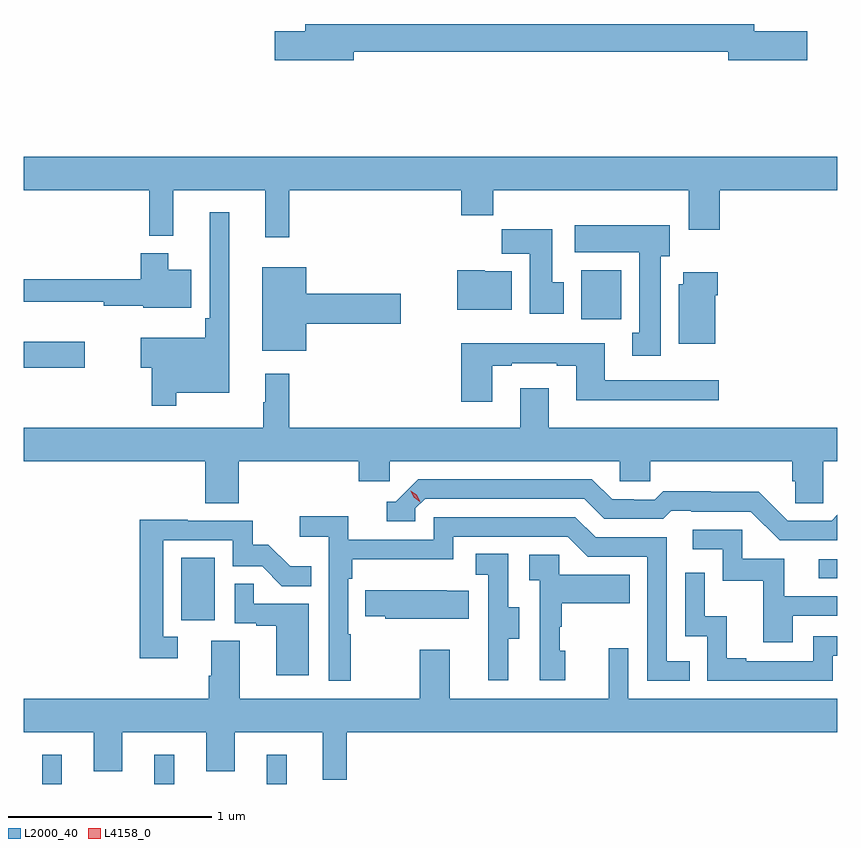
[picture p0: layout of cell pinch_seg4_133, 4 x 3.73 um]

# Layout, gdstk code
import gdstk
lib = gdstk.Library(unit=1e-6, precision=1e-09)
def R(c, l, rs):  # rectangles x0, y0, x1, y1
    for r in rs: c.add(gdstk.rectangle(r[:2], r[2:], *l))
def P(c, l, *ps):  # polygons
    for p in ps: c.add(gdstk.Polygon(p, *l))
L2000_40 = (2000, 40)
L4158_0 = (4158, 0)

pinch_seg4_133 = lib.new_cell('pinch_seg4_133')
R(pinch_seg4_133, L2000_40, [(1018.67,800.561,1018.768,800.704), (1019.222,800.561,1019.32,800.704), (1019.774,800.561,1019.873,800.704), (1019.354,801.366,1019.518,801.673), (1022.487,801.573,1022.579,801.666), (1018.579,802.606,1018.879,802.735), (1021.319,802.844,1021.516,803.086)])
P(pinch_seg4_133, L2000_40, [(1020.202,804.16),(1022.042,804.16),(1022.042,804.118),(1022.431,804.118),(1022.431,804.26),(1022.17,804.26),(1022.17,804.296),(1019.963,804.296),(1019.963,804.26),(1019.814,804.26),(1019.814,804.118),(1020.202,804.118)],
  [(1019.885,803.48),(1020.731,803.48),(1020.731,803.356),(1020.887,803.356),(1020.887,803.48),(1021.847,803.48),(1021.847,803.286),(1022,803.286),(1022,803.48),(1022.579,803.48),(1022.579,803.644),(1018.579,803.644),(1018.579,803.48),(1019.197,803.48),(1019.197,803.255),(1019.315,803.255),(1019.315,803.48),(1019.768,803.48),(1019.768,803.247),(1019.885,803.247)],
  [(1019.329,802.484),(1019.59,802.484),(1019.59,803.371),(1019.493,803.371),(1019.493,802.849),(1019.473,802.849),(1019.473,802.753),(1019.156,802.753),(1019.156,802.606),(1019.208,802.606),(1019.208,802.419),(1019.329,802.419)],
  [(1021.711,803.154),(1021.756,803.154),(1021.756,803.308),(1021.287,803.308),(1021.287,803.174),(1021.604,803.174),(1021.604,802.778),(1021.571,802.778),(1021.571,802.665),(1021.711,802.665)],
  [(1021.234,803.028),(1021.177,803.028),(1021.177,803.287),(1020.928,803.287),(1020.928,803.168),(1021.067,803.168),(1021.067,802.872),(1021.234,802.872)],
  [(1019.404,803.089),(1019.29,803.089),(1019.29,803.17),(1019.156,803.17),(1019.156,803.041),(1018.579,803.041),(1018.579,802.931),(1018.972,802.931),(1018.972,802.912),(1019.168,802.912),(1019.168,802.901),(1019.404,802.901)],
  [(1019.968,802.823),(1020.433,802.823),(1020.433,802.97),(1019.968,802.97),(1019.968,803.101),(1019.753,803.101),(1019.753,802.691),(1019.968,802.691)],
  [(1020.979,803.08),(1020.846,803.08),(1020.846,803.086),(1020.71,803.086),(1020.71,802.892),(1020.979,802.892)],
  [(1021.978,802.964),(1021.991,802.964),(1021.991,803.077),(1021.82,803.077),(1021.82,803.016),(1021.799,803.016),(1021.799,802.724),(1021.978,802.724)],
  [(1020.883,802.617),(1020.979,802.617),(1020.979,802.629),(1021.199,802.629),(1021.199,802.617),(1021.295,802.617),(1021.295,802.448),(1021.996,802.448),(1021.996,802.545),(1021.435,802.545),(1021.435,802.726),(1020.731,802.726),(1020.731,802.44),(1020.883,802.44)],
  [(1019.636,802.148),(1020.227,802.148),(1020.227,802.05),(1020.378,802.05),(1020.378,802.148),(1021.509,802.148),(1021.509,802.05),(1021.659,802.05),(1021.659,802.148),(1022.357,802.148),(1022.357,802.05),(1022.371,802.05),(1022.371,801.94),(1022.508,801.94),(1022.508,802.148),(1022.579,802.148),(1022.579,802.312),(1021.159,802.312),(1021.159,802.507),(1021.019,802.507),(1021.019,802.312),(1019.885,802.312),(1019.885,802.576),(1019.768,802.576),(1019.768,802.436),(1019.757,802.436),(1019.757,802.312),(1018.579,802.312),(1018.579,802.148),(1019.471,802.148),(1019.471,801.94),(1019.636,801.94)],
  [(1022.579,801.884),(1022.55,801.855),(1022.334,801.855),(1022.192,801.997),(1021.956,801.997),(1021.956,802),(1021.723,802),(1021.681,801.957),(1021.578,801.957),(1021.578,801.96),(1021.471,801.96),(1021.372,802.059),(1020.519,802.059),(1020.408,801.948),(1020.365,801.948),(1020.365,801.852),(1020.504,801.852),(1020.504,801.915),(1020.552,801.963),(1021.335,801.963),(1021.434,801.864),(1021.723,801.864),(1021.762,801.903),(1021.861,801.903),(1021.861,801.9),(1022.154,801.9),(1022.295,801.759),(1022.579,801.759)],
  [(1020.187,801.296),(1020.174,801.296),(1020.174,801.569),(1020.194,801.569),(1020.194,801.665),(1020.69,801.665),(1020.69,801.777),(1021.254,801.777),(1021.353,801.678),(1021.644,801.678),(1021.644,801.069),(1021.853,801.069),(1021.853,801.165),(1021.74,801.165),(1021.74,801.774),(1021.39,801.774),(1021.291,801.873),(1020.594,801.873),(1020.594,801.762),(1020.176,801.762),(1020.176,801.878),(1019.937,801.878),(1019.937,801.776),(1020.078,801.776),(1020.078,801.069),(1020.187,801.069)],
  [(1019.338,801.285),(1019.265,801.285),(1019.265,801.759),(1019.607,801.759),(1019.607,801.63),(1019.751,801.63),(1019.849,801.532),(1019.993,801.532),(1019.993,801.631),(1019.889,801.631),(1019.782,801.738),(1019.706,801.738),(1019.706,801.855),(1019.387,801.855),(1019.387,801.86),(1019.149,801.86),(1019.149,801.18),(1019.338,801.18)],
  [(1022.359,801.387),(1022.579,801.387),(1022.579,801.483),(1022.317,801.483),(1022.317,801.669),(1022.112,801.669),(1022.112,801.81),(1021.869,801.81),(1021.869,801.714),(1022.016,801.714),(1022.016,801.561),(1022.215,801.561),(1022.215,801.258),(1022.359,801.258)],
  [(1020.961,801.274),(1021.015,801.274),(1021.015,801.429),(1020.96,801.429),(1020.96,801.692),(1020.801,801.692),(1020.801,801.589),(1020.864,801.589),(1020.864,801.285),(1020.863,801.285),(1020.863,801.072),(1020.961,801.072)],
  [(1021.24,801.216),(1021.215,801.216),(1021.215,801.335),(1021.225,801.335),(1021.225,801.449),(1021.559,801.449),(1021.559,801.589),(1021.212,801.589),(1021.212,801.687),(1021.065,801.687),(1021.065,801.563),(1021.116,801.563),(1021.116,801.072),(1021.24,801.072)],
  [(1022.556,801.192),(1022.579,801.192),(1022.579,801.288),(1022.46,801.288),(1022.46,801.165),(1022.131,801.165),(1022.131,801.178),(1022.036,801.178),(1022.036,801.386),(1021.926,801.386),(1021.926,801.598),(1021.83,801.598),(1021.83,801.288),(1021.938,801.288),(1021.938,801.069),(1022.556,801.069)],
  [(1019.98,801.447),(1019.711,801.447),(1019.711,801.545),(1019.616,801.545),(1019.616,801.351),(1019.723,801.351),(1019.723,801.339),(1019.822,801.339),(1019.822,801.096),(1019.98,801.096)],
  [(1020.767,801.511),(1020.659,801.511),(1020.659,801.514),(1020.259,801.514),(1020.259,801.385),(1020.357,801.385),(1020.357,801.374),(1020.767,801.374)],
  [(1020.167,800.816),(1022.579,800.816),(1022.579,800.98),(1021.551,800.98),(1021.551,801.229),(1021.454,801.229),(1021.454,800.98),(1020.673,800.98),(1020.673,801.22),(1020.526,801.22),(1020.526,800.98),(1019.641,800.98),(1019.641,801.266),(1019.501,801.266),(1019.501,801.092),(1019.489,801.092),(1019.489,800.98),(1018.579,800.98),(1018.579,800.816),(1018.925,800.816),(1018.925,800.623),(1019.065,800.623),(1019.065,800.816),(1019.477,800.816),(1019.477,800.623),(1019.617,800.623),(1019.617,800.816),(1020.05,800.816),(1020.05,800.583),(1020.167,800.583)])
P(pinch_seg4_133, L4158_0, [(1020.527,801.948),(1020.497,801.969),(1020.482,802.002),(1020.482,802.002),(1020.482,802.002),(1020.512,801.982),(1020.528,801.949),(1020.528,801.948)])

lib.write_gds('pinch_seg4_133.gds')
